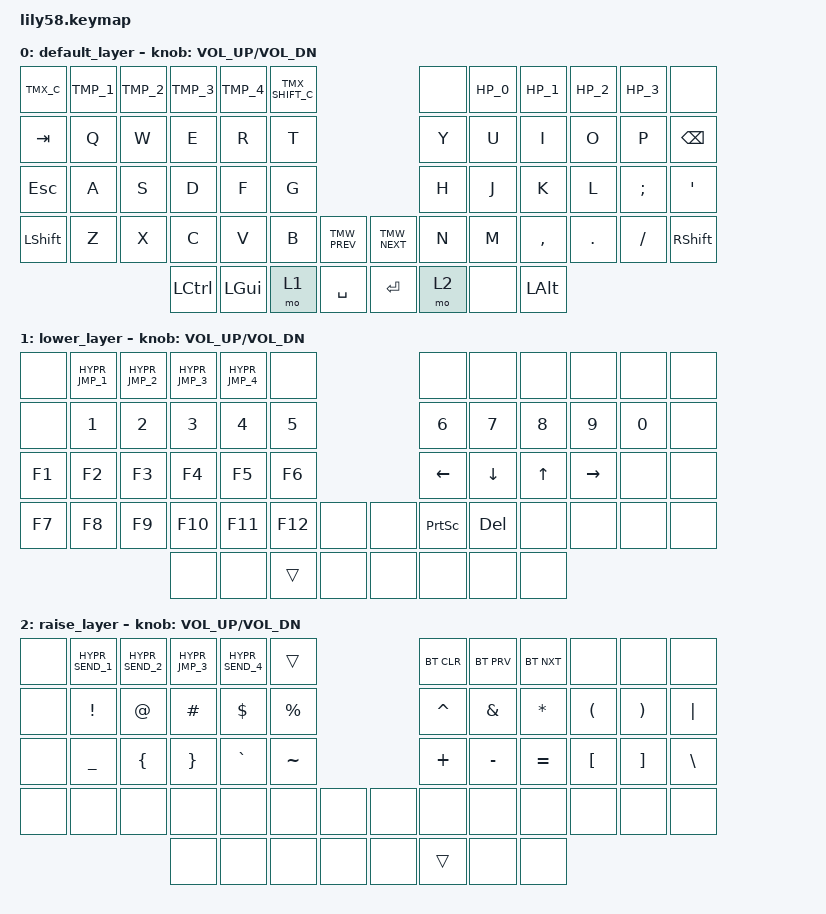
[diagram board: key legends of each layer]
/*
 * Copyright (c) 2020 The ZMK Contributors
 *
 * SPDX-License-Identifier: MIT
 */

#include <behaviors.dtsi>
#include <dt-bindings/zmk/keys.h>
#include <dt-bindings/zmk/bt.h>

/ {
    macros {
        HP_0: HP_0 {
            compatible = "zmk,behavior-macro";
            #binding-cells = <0>;
            bindings = <&kp SPACE &kp U>;
            label = "HP_0";
        };

        HP_1: HP_1 {
            compatible = "zmk,behavior-macro";
            #binding-cells = <0>;
            bindings = <&kp SPACE &kp I>;
            label = "HP_1";
        };

        HP_2: HP_2 {
            compatible = "zmk,behavior-macro";
            #binding-cells = <0>;
            bindings = <&kp SPACE &kp O>;
            label = "HP_2";
        };

        HP_3: HP_3 {
            compatible = "zmk,behavior-macro";
            #binding-cells = <0>;
            bindings = <&kp SPACE &kp P>;
            label = "HP_3";
        };

        TMP_1: TMP_1 {
            compatible = "zmk,behavior-macro";
            #binding-cells = <0>;
            bindings = <&kp LC(S) &kp N1>;
            label = "TMP_1";
        };

        TMP_2: TMP_2 {
            compatible = "zmk,behavior-macro";
            #binding-cells = <0>;
            bindings = <&kp LC(S) &kp N2>;
            label = "TMP_2";
        };

        TMP_3: TMP_3 {
            compatible = "zmk,behavior-macro";
            #binding-cells = <0>;
            bindings = <&kp LC(S) &kp N3>;
            label = "TMP_3";
        };

        TMP_4: TMP_4 {
            compatible = "zmk,behavior-macro";
            #binding-cells = <0>;
            bindings = <&kp LC(S) &kp N4>;
            label = "TMP_4";
        };

        TMW_NEXT: TMW_NEXT {
            compatible = "zmk,behavior-macro";
            #binding-cells = <0>;
            bindings = <&kp LC(S) &kp LPAR>;
            label = "TMW_NEXT";
        };

        TMW_PREV: TMW_PREV {
            compatible = "zmk,behavior-macro";
            #binding-cells = <0>;
            bindings = <&kp LC(S) &kp RPAR>;
            label = "TMW_PREV";
        };

        HYPR_JMP_1: HYPR_JMP_1 {
            compatible = "zmk,behavior-macro";
            #binding-cells = <0>;
            bindings = <&kp LEFT_GUI &kp N1>;
            label = "HYPR_JMP_1";
        };

        HYPR_JMP_2: HYPR_JMP_2 {
            compatible = "zmk,behavior-macro";
            #binding-cells = <0>;
            bindings = <&kp LEFT_GUI &kp N2>;
            label = "HYPR_JMP_2";
        };

        HYPR_JMP_3: HYPR_JMP_3 {
            compatible = "zmk,behavior-macro";
            #binding-cells = <0>;
            bindings = <&kp LEFT_GUI &kp N3>;
            label = "HYPR_JMP_3";
        };

        HYPR_JMP_4: HYPR_JMP_4 {
            compatible = "zmk,behavior-macro";
            #binding-cells = <0>;
            bindings = <&kp LEFT_GUI &kp N4>;
            label = "HYPR_JMP_4";
        };

        HYPR_SEND_1: HYPR_SEND_1 {
            compatible = "zmk,behavior-macro";
            #binding-cells = <0>;
            bindings = <&kp LEFT_GUI &kp EXCL>;
            label = "HYPR_SEND_1";
        };

        HYPR_SEND_2: HYPR_SEND_2 {
            compatible = "zmk,behavior-macro";
            #binding-cells = <0>;
            bindings = <&kp LEFT_GUI &kp AT>;
            label = "HYPR_SEND_2";
        };

        HYPR_SEND_3: HYPR_SEND_3 {
            compatible = "zmk,behavior-macro";
            #binding-cells = <0>;
            bindings = <&kp LEFT_GUI &kp HASH>;
            label = "HYPR_SEND_3";
        };

        HYPR_SEND_4: HYPR_SEND_4 {
            compatible = "zmk,behavior-macro";
            #binding-cells = <0>;
            bindings = <&kp LEFT_GUI &kp DLLR>;
            label = "HYPR_SEND_4";
        };

        TMX_C: TMX_C {
            compatible = "zmk,behavior-macro";
            #binding-cells = <0>;
            bindings = <&kp LC(S) &kp C>;
            label = "TMX_C";
        };

        TMX_SHIFT_C: TMX_SHIFT_C {
            compatible = "zmk,behavior-macro";
            #binding-cells = <0>;
            bindings = <&kp LC(S) &kp LS(C)>;
            label = "TMX_SHIFT_C";
        };
    };

    keymap {
        compatible = "zmk,keymap";

        default_layer {
            // ------------------------------------------------------------------------------------------------------------
            // |  ESC  |  1  |  2  |  3   |  4   |  5   |                   |  6   |  7    |  8    |  9   |   0   |   `   |
            // |  TAB  |  Q  |  W  |  E   |  R   |  T   |                   |  Y   |  U    |  I    |  O   |   P   |   -   |
            // |  CTRL |  A  |  S  |  D   |  F   |  G   |                   |  H   |  J    |  K    |  L   |   ;   |   '   |
            // | SHIFT |  Z  |  X  |  C   |  V   |  B   |   "["  |  |  "]"  |  N   |  M    |  ,    |  .   |   /   | SHIFT |
            //                     | ALT  | GUI  | LOWER|  SPACE |  | ENTER | RAISE| BSPC  | GUI   |

            bindings = <
&TMX_C     &TMP_1  &TMP_2  &TMP_3     &TMP_4    &TMX_SHIFT_C                          &none  &HP_0  &HP_1      &HP_2    &HP_3     &none
&kp TAB    &kp Q   &kp W   &kp E      &kp R     &kp T                                 &kp Y  &kp U  &kp I      &kp O    &kp P     &kp BSPC
&kp ESC    &kp A   &kp S   &kp D      &kp F     &kp G                                 &kp H  &kp J  &kp K      &kp L    &kp SEMI  &kp SQT
&kp LSHFT  &kp Z   &kp X   &kp C      &kp V     &kp B         &TMW_PREV    &TMW_NEXT  &kp N  &kp M  &kp COMMA  &kp DOT  &kp FSLH  &kp RSHFT
                           &kp LCTRL  &kp LGUI  &mo 1         &kp SPACE    &kp RET    &mo 2  &none  &kp LALT
            >;

            sensor-bindings = <&inc_dec_kp C_VOL_UP C_VOL_DN>;
        };

        lower_layer {
            // ------------------------------------------------------------------------------------------------------------
            // | BTCLR | BT1 | BT2 |  BT3 |  BT4 |  BT5 |                   |      |       |       |      |       |       |
            // |  F1   |  F2 |  F3 |  F4  |  F5  |  F6  |                   |  F7  |  F8   |  F9   |  F10 |  F11  |  F12  |
            // |   `   |  !  |  @  |  #   |  $   |  %   |                   |  ^   |  &    |  *    |  (   |   )   |   ~   |
            // |       |     |     |      |      |      |        |  |       |      |  _    |  +    |  {   |   }   |  "|"  |
            //                     |      |      |      |        |  |       |      |       |       |

            bindings = <
&none   &HYPR_JMP_1  &HYPR_JMP_2  &HYPR_JMP_3  &HYPR_JMP_4  &none                    &none      &none     &none   &none      &none   &none
&none   &kp N1       &kp N2       &kp N3       &kp N4       &kp N5                   &kp N6     &kp N7    &kp N8  &kp N9     &kp N0  &none
&kp F1  &kp F2       &kp F3       &kp F4       &kp F5       &kp F6                   &kp LEFT   &kp DOWN  &kp UP  &kp RIGHT  &none   &none
&kp F7  &kp F8       &kp F9       &kp F10      &kp F11      &kp F12  &none    &none  &kp PSCRN  &kp DEL   &none   &none      &none   &none
                                  &none        &none        &trans   &none    &none  &none      &none     &none
            >;

            sensor-bindings = <&inc_dec_kp C_VOL_UP C_VOL_DN>;
        };

        raise_layer {
            // ------------------------------------------------------------------------------------------------------------
            // |       |     |     |      |      |      |                   |      |       |       |      |       |       |
            // |   `   |  1  |  2  |  3   |  4   |  5   |                   |  6   |   7   |   8   |  9   |   0   |       |
            // |   F1  |  F2 |  F3 |  F4  |  F5  |  F6  |                   |      |   <-  |   v   |  ^   |  ->   |       |
            // |   F7  |  F8 |  F9 |  F10 |  F11 |  F12 |        |  |       |  +   |   -   |   =   |  [   |   ]   |   \   |
            //                     |      |      |      |        |  |       |      |       |       |

            bindings = <
&none  &HYPR_SEND_1  &HYPR_SEND_2  &HYPR_JMP_3  &HYPR_SEND_4  &trans                     &bt BT_CLR &bt BT_PRV &bt BT_NXT &none     &none     &none
&none  &kp EXCL      &kp AT        &kp HASH     &kp DLLR      &kp PRCNT                  &kp CARET  &kp AMPS   &kp STAR   &kp LPAR  &kp RPAR  &kp PIPE
&none  &kp UNDER     &kp LBRC      &kp RBRC     &kp GRAVE     &kp TILDE                  &kp PLUS   &kp MINUS  &kp EQUAL  &kp LBKT  &kp RBKT  &kp BSLH
&none  &none         &none         &none        &none         &none      &none    &none  &none      &none      &none      &none     &none     &none
                                   &none        &none         &none      &none    &none  &trans     &none      &none
            >;

            sensor-bindings = <&inc_dec_kp C_VOL_UP C_VOL_DN>;
        };
    };
};
